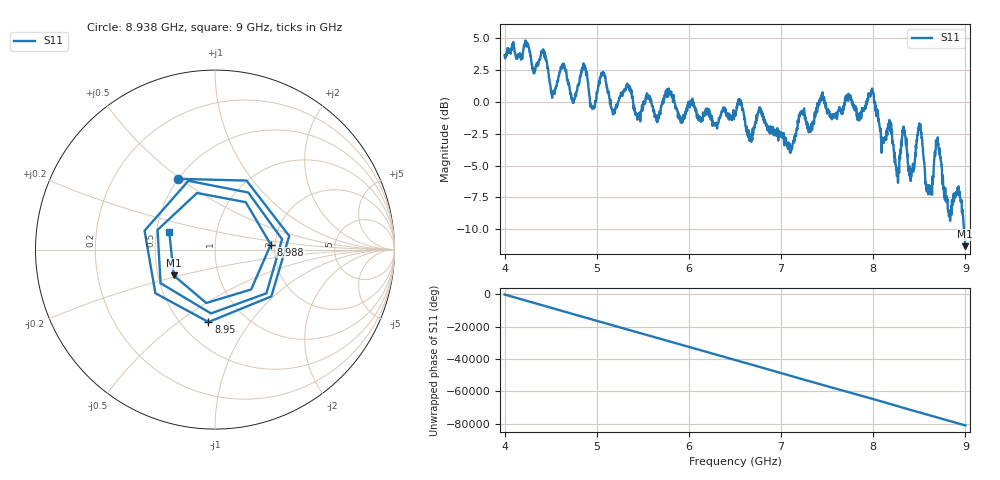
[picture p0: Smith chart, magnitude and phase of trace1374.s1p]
! Created with skrf 1.8.0 (http://scikit-rf.org).
# Hz S RI R 50.0
!freq ReS11 ImS11
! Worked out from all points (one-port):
!   1601 points, 4 GHz to 9 GHz, reference 50 ohm
!   lowest |S11| = -11.3 dB at 8.997 GHz (marker M1), VSWR 1.74, Z = 30.2 - j9.41 ohm
!   |S11| at or under -10 dB: 8.983748 GHz to end of sweep
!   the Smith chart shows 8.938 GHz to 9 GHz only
!   S11 on the Smith chart (normalised r, x): 8.938 GHz: 0.50, +0.49; 8.95 GHz: 0.68, -0.65; 8.988 GHz: 1.90, +0.12; 9 GHz: 0.58, +0.12
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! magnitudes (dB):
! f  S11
! 4 GHz  3.7
! 4.419 GHz  4.1
! 4.525 GHz  0.7
! 4.625 GHz  2.9
! 4.738 GHz  0.1
! 4.856 GHz  3.0
! 4.953 GHz  -0.5
! 5.059 GHz  2.1
! 5.25 GHz  0.3
! 5.875 GHz  -0.7
! 6.5 GHz  -1.0
! 7.125 GHz  -3.3
! 7.225 GHz  -0.9
! 7.75 GHz  0.5
! 7.981 GHz  0.9
! 8.256 GHz  -5.8
! 8.328 GHz  -2.4
! 8.375 GHz  -4.8
! 8.425 GHz  -5.4
! 8.503 GHz  -1.8
! 8.6 GHz  -7.0
! 8.7 GHz  -2.8
! 8.812 GHz  -8.6
! 8.938 GHz  -7.1
! 8.95 GHz  -7.8
! 8.988 GHz  -10.1
! 8.997 GHz  -11.3
! 9 GHz  -11.3
